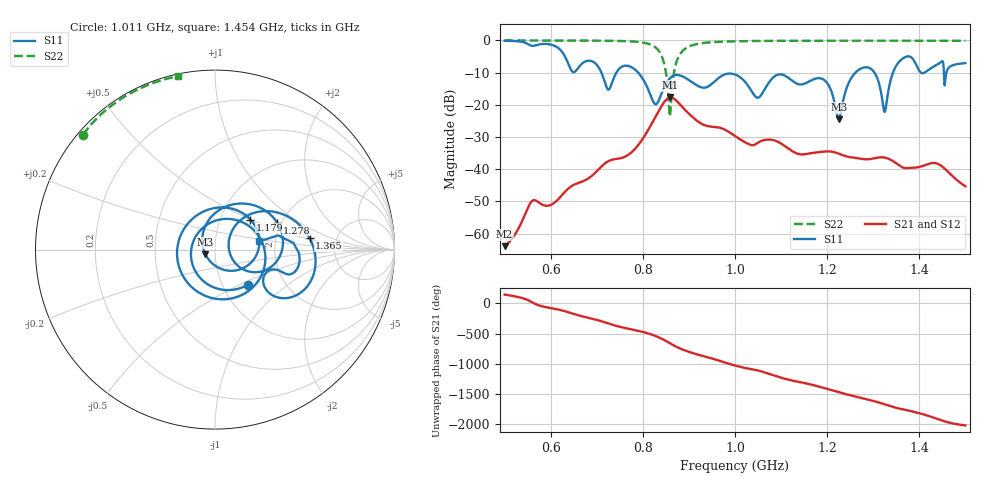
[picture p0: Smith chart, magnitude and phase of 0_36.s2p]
! TOUCHSTONE file generated by CST MICROWAVE STUDIO
! Date and time: Sat Oct 24 10:47:42 2020
! Project name: Scenario_1_Planar_Body_Tissue_Center.cst
! Parameters = {hfat=3; hmuscle=50; hskin=1.5; hgap=25; Wtissue=700; Ltissue=700; L_HA=400; MT=2.54; Rad_Dielectric=30; Rad_Lower=7.3; Rad_Upper=30; a_HA=580; a_WG=246; b_HA=500; b_WG=121; c_HA=0; c_WG=187; d_feed=85; dx1=779.2; h_feed=15; h_lower=18; h_upper=40}
! Header version: 2018
! Port assignment regex: !\s*Touchstone port\s*([0-9]+)\s*=\s*(CST MWS port|CST DS port)\s*([0-9]+|Zmin|Zmax)\s*\(\"(.*)\"\)(\s*mode\s*([0-9]+))?.*
! Touchstone port assignment:
! Touchstone port 1 = CST MWS port 1 ("")
! Touchstone port 2 = CST MWS port 2 ("")
# GHz S DB R 50
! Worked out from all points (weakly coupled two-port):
!   1003 points, 500 MHz to 1.5 GHz, reference 50 ohm
!   highest |S21| = -17.72 dB at 860 MHz (marker M1); lowest = -63.9 dB at 500 MHz (marker M2)
!   lowest |S11| = -24.5 dB at 1.225 GHz (marker M3), VSWR 1.13, Z = 44.9 - j2.41 ohm
!   |S11| at or under -10 dB: 710.1 MHz to 742.5 MHz (32.47 MHz wide, 4.47 % of centre); 790 MHz to 1.261 GHz (471.4 MHz wide, 46 % of centre); 1.303 GHz to 1.343 GHz (40.1 MHz wide, 3.03 % of centre) (the widest 3 of 5)
!   |S22| runs from -23.6 to 0.0 dB; largest |S21 - S12| = 6.6e-06
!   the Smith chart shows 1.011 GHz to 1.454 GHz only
!   S11 on the Smith chart (normalised r, x): 1.011 GHz: 1.32, -0.56; 1.179 GHz: 1.39, +0.50; 1.278 GHz: 1.91, +0.67; 1.365 GHz: 3.15, +0.57; 1.454 GHz: 1.64, +0.16
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0.5  -0.11 -121.6  -63.89 145.3  -63.88 145.3  -0.01 151.2
0.625  -3.62 153.2  -47.97 -118.0  -47.97 -118.0  -0.03 142.1
0.667  -7.35 164.6  -43.91 148.3  -43.91 148.3  -0.04 138.4
0.718  -13.18 28.4  -38.15 46.0  -38.15 46.0  -0.09 132.6
0.755  -8.12 177.1  -36.45 -36.5  -36.44 -36.5  -0.19 126.6
0.784  -9.15 102.2  -33.52 -83.9  -33.52 -83.9  -0.40 119.2
0.834  -18.78 -116.1  -21.98 160.6  -21.98 160.6  -3.12 85.0
0.86  -11.58 123.7  -17.72 55.5  -17.72 55.5  -21.69 -89.1
0.889  -11.36 21.6  -21.17 -50.9  -21.17 -50.9  -2.88 177.6
0.945  -14.03 172.0  -26.71 -179.1  -26.71 -179.1  -0.60 150.2
1  -10.58 -15.5  -29.69 53.7  -29.69 53.7  -0.27 140.4
1.011  -11.42 -46.6  -30.71 32.4  -30.71 32.4  -0.24 138.9
1.067  -14.55 65.8  -30.85 -66.6  -30.85 -66.6  -0.15 132.8
1.112  -11.26 -89.7  -33.19 -172.8  -33.19 -172.8  -0.12 128.7
1.167  -12.28 73.1  -34.96 95.3  -34.96 95.3  -0.10 124.2
1.179  -11.74 40.3  -34.74 71.8  -34.74 71.8  -0.10 123.3
1.225  -24.53 -153.2  -35.15 -28.0  -35.15 -28.0  -0.08 119.8
1.278  -8.46 23.5  -36.83 -129.4  -36.83 -129.4  -0.09 115.8
1.334  -14.72 49.8  -36.80 110.4  -36.80 110.4  -0.09 111.5
1.365  -5.50 7.0  -39.49 48.7  -39.49 48.7  -0.09 109.2
1.454  -12.06 10.5  -39.67 -147.5  -39.67 -147.5  -0.11 102.0
1.5  -7.04 -43.9  -45.30 143.9  -45.30 143.9  -0.13 98.0
